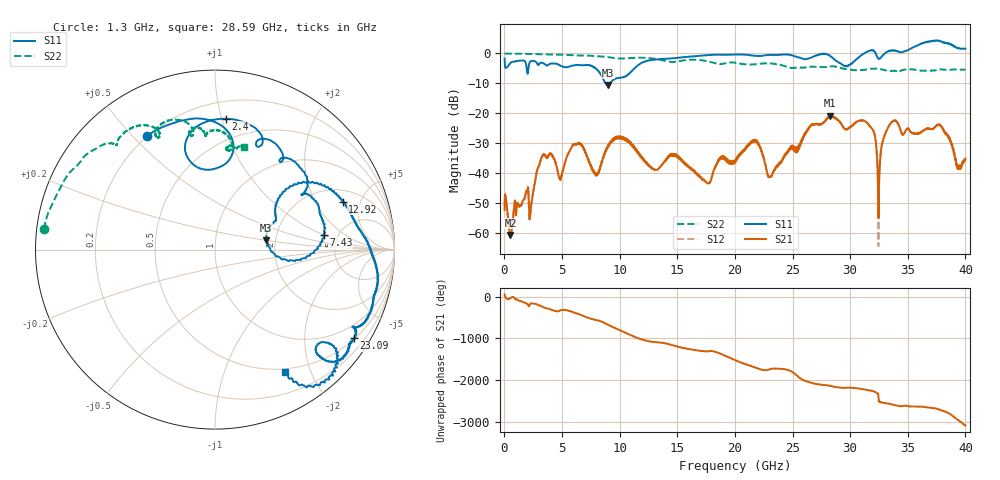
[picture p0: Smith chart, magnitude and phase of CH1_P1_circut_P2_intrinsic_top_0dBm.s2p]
!Keysight Technologies,N5222B,MY61257109,A.17.25.03
!Date: Wednesday, July 22, 2026 17:41:11
!Correction: S11(C  2-Port  )
!S21(C  2-Port  )
!S12(C  2-Port  )
!S22(C  2-Port  )
!S2P File: Measurements: S11, S21, S12, S22:
# Hz S  dB  R 50
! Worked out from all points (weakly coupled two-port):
!   4000 points, 10 MHz to 40 GHz, reference 50 ohm
!   highest |S21| = -21.02 dB at 28.24 GHz (marker M1); lowest = -60.7 dB at 520 MHz (marker M2)
!   lowest |S11| = -10.7 dB at 8.96 GHz (marker M3), VSWR 1.82, Z = 89.3 + j10.2 ohm
!   |S11| at or under -10 dB: 8.733 GHz to 9.192 GHz (458.3 MHz wide, 5.11 % of centre)
!   |S22| runs from -6.2 to -0.3 dB; largest |S21 - S12| = 0.0041
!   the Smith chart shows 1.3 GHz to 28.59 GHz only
!   S11 on the Smith chart (normalised r, x): 1.3 GHz: 0.20, +0.55; 2.4 GHz: 0.33, +1.03; 7.43 GHz: 3.85, +1.01; 12.92 GHz: 2.72, +3.45; 23.09 GHz: 0.53, -3.35; 28.59 GHz: 0.46, -1.62
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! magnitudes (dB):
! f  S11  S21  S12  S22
! 10 MHz  -2.0  -52.4  -51.4  -0.3
! 520 MHz  -3.4  -60.7  -60.4  -0.3
! 1.3 GHz  -2.7  -51.2  -51.2  -0.4
! 2.4 GHz  -2.7  -48.6  -48.5  -0.4
! 3.32 GHz  -3.4  -34.3  -34.3  -0.6
! 4.83 GHz  -4.3  -42.0  -41.9  -0.7
! 6.68 GHz  -4.2  -30.9  -30.6  -1.0
! 7.43 GHz  -4.3  -37.4  -37.3  -1.0
! 8.96 GHz  -10.7  -31.0  -31.3  -1.5
! 12.92 GHz  -2.4  -38.9  -38.8  -2.0
! 13.34 GHz  -2.2  -38.8  -38.8  -2.2
! 20.01 GHz  -0.6  -35.8  -36.4  -3.3
! 21.78 GHz  -1.0  -29.4  -29.6  -3.9
! 23.09 GHz  -0.7  -41.3  -41.2  -3.5
! 26.67 GHz  -1.6  -24.0  -23.9  -4.6
! 28.24 GHz  -1.0  -21.0  -21.3  -4.6
! 28.59 GHz  -2.1  -21.6  -21.5  -4.5
! 31.73 GHz  0.8  -24.6  -24.7  -5.4
! 32.49 GHz  -2.1  -46.7  -47.4  -5.4
! 33.34 GHz  0.5  -24.5  -24.5  -6.0
! 37.75 GHz  3.9  -24.1  -24.1  -5.6
! 40 GHz  1.3  -35.3  -35.7  -5.6
